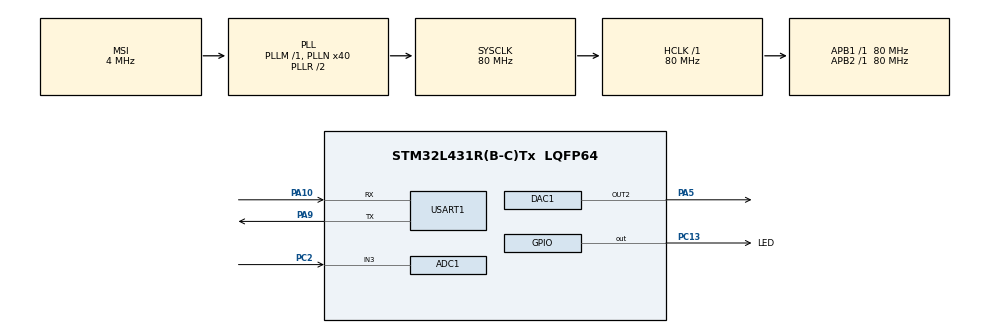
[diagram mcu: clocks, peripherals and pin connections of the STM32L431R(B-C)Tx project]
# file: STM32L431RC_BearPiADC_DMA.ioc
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ADC1.Channel-0\#ChannelRegularConversion=ADC_CHANNEL_3
ADC1.ClockPrescaler=ADC_CLOCK_ASYNC_DIV2
ADC1.ContinuousConvMode=ENABLE
ADC1.DMAContinuousRequests=ENABLE
ADC1.NbrOfConversionFlag=1
ADC1.OffsetNumber-0\#ChannelRegularConversion=ADC_OFFSET_NONE
ADC1.Rank-0\#ChannelRegularConversion=1
ADC1.SamplingTime-0\#ChannelRegularConversion=ADC_SAMPLETIME_640CYCLES_5
ADC1.master=1
DAC1.DAC_Channel-DAC_OUT2=DAC_CHANNEL_2
Dma.ADC1.0.Direction=DMA_PERIPH_TO_MEMORY
Dma.ADC1.0.Instance=DMA1_Channel1
Dma.ADC1.0.MemDataAlignment=DMA_MDATAALIGN_WORD
Dma.ADC1.0.MemInc=DMA_MINC_ENABLE
Dma.ADC1.0.Mode=DMA_CIRCULAR
Dma.ADC1.0.PeriphDataAlignment=DMA_PDATAALIGN_WORD
Dma.ADC1.0.PeriphInc=DMA_PINC_DISABLE
Dma.ADC1.0.Priority=DMA_PRIORITY_HIGH
Dma.Request0=ADC1
Mcu.Family=STM32L4
Mcu.Name=STM32L431R(B-C)Tx
Mcu.Package=LQFP64
NVIC.ADC1_IRQn=true\:0\:0\:false\:false\:true\:true
NVIC.DMA1_Channel1_IRQn=true\:0\:0\:false\:false\:true\:false
NVIC.PriorityGroup=NVIC_PRIORITYGROUP_4
PA10.Mode=Asynchronous
PA10.Signal=USART1_RX
PA5.Signal=COMP_DAC12_group
PA9.Mode=Asynchronous
PA9.Signal=USART1_TX
PC13.GPIO_Label=LED
PC13.Signal=GPIO_Output
PC2.Signal=ADCx_IN3
ProjectManager.HeapSize=0x200
ProjectManager.StackSize=0x400
ProjectManager.TargetToolchain=MDK-ARM V5
RCC.ADCFreq_Value=12000000
RCC.AHBFreq_Value=80000000
RCC.APB1Freq_Value=80000000
RCC.APB1TimFreq_Value=80000000
RCC.APB2Freq_Value=80000000
RCC.APB2TimFreq_Value=80000000
RCC.CortexFreq_Value=80000000
RCC.HCLKFreq_Value=80000000
RCC.HSE_VALUE=8000000
RCC.HSI48_VALUE=48000000
RCC.HSI_VALUE=16000000
RCC.LSE_VALUE=32768
RCC.MSI_VALUE=4000000
RCC.PLLN=40
RCC.PLLSAI1N=18
RCC.PLLSAI1R=RCC_PLLR_DIV6
RCC.SYSCLKFreq_VALUE=80000000
RCC.SYSCLKSource=RCC_SYSCLKSOURCE_PLLCLK
RCC.VCOOutputFreq_Value=160000000
SH.ADCx_IN3.0=ADC1_IN3,IN3-Single-Ended
SH.COMP_DAC12_group.0=DAC1_OUT2,DAC_OUT2
USART1.VirtualMode-Asynchronous=VM_ASYNC
board=custom

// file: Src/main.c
/**
  ******************************************************************************
  * @file           : main.c
  * @brief          : Main program body
  ******************************************************************************
  ** This notice applies to any and all portions of this file
  * that are not between comment pairs USER CODE BEGIN and
  * USER CODE END. Other portions of this file, whether
  * inserted by the user or by software development tools
  * are owned by their respective copyright owners.
  *
  * COPYRIGHT(c) 2019 STMicroelectronics
  *
  * Redistribution and use in source and binary forms, with or without modification,
  * are permitted provided that the following conditions are met:
  *   1. Redistributions of source code must retain the above copyright notice,
  *      this list of conditions and the following disclaimer.
  *   2. Redistributions in binary form must reproduce the above copyright notice,
  *      this list of conditions and the following disclaimer in the documentation
  *      and/or other materials provided with the distribution.
  *   3. Neither the name of STMicroelectronics nor the names of its contributors
  *      may be used to endorse or promote products derived from this software
  *      without specific prior written permission.
  *
  * THIS SOFTWARE IS PROVIDED BY THE COPYRIGHT HOLDERS AND CONTRIBUTORS "AS IS"
  * AND ANY EXPRESS OR IMPLIED WARRANTIES, INCLUDING, BUT NOT LIMITED TO, THE
  * IMPLIED WARRANTIES OF MERCHANTABILITY AND FITNESS FOR A PARTICULAR PURPOSE ARE
  * DISCLAIMED. IN NO EVENT SHALL THE COPYRIGHT HOLDER OR CONTRIBUTORS BE LIABLE
  * FOR ANY DIRECT, INDIRECT, INCIDENTAL, SPECIAL, EXEMPLARY, OR CONSEQUENTIAL
  * DAMAGES (INCLUDING, BUT NOT LIMITED TO, PROCUREMENT OF SUBSTITUTE GOODS OR
  * SERVICES; LOSS OF USE, DATA, OR PROFITS; OR BUSINESS INTERRUPTION) HOWEVER
  * CAUSED AND ON ANY THEORY OF LIABILITY, WHETHER IN CONTRACT, STRICT LIABILITY,
  * OR TORT (INCLUDING NEGLIGENCE OR OTHERWISE) ARISING IN ANY WAY OUT OF THE USE
  * OF THIS SOFTWARE, EVEN IF ADVISED OF THE POSSIBILITY OF SUCH DAMAGE.
  *
  ******************************************************************************
  */
#include "main.h"
#include "stm32l4xx_hal.h"
#include "adc.h"
#include "dac.h"
#include "dma.h"
#include "usart.h"
#include "gpio.h"

/* USER CODE BEGIN Includes */
#include "stdio.h"
/* USER CODE END Includes */

/* USER CODE BEGIN PV */
/* Private variables ---------------------------------------------------------*/

/* USER CODE END PV */

void SystemClock_Config(void);

/* USER CODE BEGIN PFP */
/* Private function prototypes -----------------------------------------------*/

/* USER CODE END PFP */

int main(void)
{
  /* USER CODE BEGIN 1 */
uint16_t ADCvalue=0;
	float Voltage=0;
	int DACvalue=0;
  /* USER CODE END 1 */

  /* MCU Configuration----------------------------------------------------------*/

  /* Reset of all peripherals, Initializes the Flash interface and the Systick. */
  HAL_Init();

  /* Configure the system clock */
  SystemClock_Config();

  /* Initialize all configured peripherals */
  MX_GPIO_Init();
  MX_DMA_Init();
  MX_ADC1_Init();
  MX_USART1_UART_Init();
  MX_DAC1_Init();
  /* USER CODE BEGIN 2 */
  HAL_ADC_Start_DMA(&hadc1,(uint32_t*)&ADCvalue,1);
	HAL_DAC_Start(&hdac1, DAC1_CHANNEL_2);
  /* USER CODE END 2 */

  /* Infinite loop */
  while (1)
  {

  /* USER CODE BEGIN 3 */
	DACvalue+=100;
	if(DACvalue>4096)
	{
	DACvalue=0;
	}
	HAL_DAC_SetValue(&hdac1, DAC1_CHANNEL_2,DAC_ALIGN_12B_R, DACvalue);
  Voltage=ADCvalue*3.41/4096;//2^12=4096
	printf("DACvalue:%d,ADCValue:%d,ADCValue:%f\r\n",DACvalue,ADCvalue,Voltage);//打印转换数据和换算电压
	HAL_Delay(1000);
  }
  /* USER CODE END 3 */

}

void SystemClock_Config(void)
{

  RCC_OscInitTypeDef RCC_OscInitStruct;
  RCC_ClkInitTypeDef RCC_ClkInitStruct;
  RCC_PeriphCLKInitTypeDef PeriphClkInit;

    /**Initializes the CPU, AHB and APB busses clocks
    */
  RCC_OscInitStruct.OscillatorType = RCC_OSCILLATORTYPE_MSI;
  RCC_OscInitStruct.MSIState = RCC_MSI_ON;
  RCC_OscInitStruct.MSICalibrationValue = 0;
  RCC_OscInitStruct.MSIClockRange = RCC_MSIRANGE_6;
  RCC_OscInitStruct.PLL.PLLState = RCC_PLL_ON;
  RCC_OscInitStruct.PLL.PLLSource = RCC_PLLSOURCE_MSI;
  RCC_OscInitStruct.PLL.PLLM = 1;
  RCC_OscInitStruct.PLL.PLLN = 40;
  RCC_OscInitStruct.PLL.PLLP = RCC_PLLP_DIV7;
  RCC_OscInitStruct.PLL.PLLQ = RCC_PLLQ_DIV2;
  RCC_OscInitStruct.PLL.PLLR = RCC_PLLR_DIV2;
  if (HAL_RCC_OscConfig(&RCC_OscInitStruct) != HAL_OK)
  {
    _Error_Handler(__FILE__, __LINE__);
  }

    /**Initializes the CPU, AHB and APB busses clocks
    */
  RCC_ClkInitStruct.ClockType = RCC_CLOCKTYPE_HCLK|RCC_CLOCKTYPE_SYSCLK
                              |RCC_CLOCKTYPE_PCLK1|RCC_CLOCKTYPE_PCLK2;
  RCC_ClkInitStruct.SYSCLKSource = RCC_SYSCLKSOURCE_PLLCLK;
  RCC_ClkInitStruct.AHBCLKDivider = RCC_SYSCLK_DIV1;
  RCC_ClkInitStruct.APB1CLKDivider = RCC_HCLK_DIV1;
  RCC_ClkInitStruct.APB2CLKDivider = RCC_HCLK_DIV1;

  if (HAL_RCC_ClockConfig(&RCC_ClkInitStruct, FLASH_LATENCY_4) != HAL_OK)
  {
    _Error_Handler(__FILE__, __LINE__);
  }

  PeriphClkInit.PeriphClockSelection = RCC_PERIPHCLK_USART1|RCC_PERIPHCLK_ADC;
  PeriphClkInit.Usart1ClockSelection = RCC_USART1CLKSOURCE_PCLK2;
  PeriphClkInit.AdcClockSelection = RCC_ADCCLKSOURCE_PLLSAI1;
  PeriphClkInit.PLLSAI1.PLLSAI1Source = RCC_PLLSOURCE_MSI;
  PeriphClkInit.PLLSAI1.PLLSAI1M = 1;
  PeriphClkInit.PLLSAI1.PLLSAI1N = 18;
  PeriphClkInit.PLLSAI1.PLLSAI1P = RCC_PLLP_DIV7;
  PeriphClkInit.PLLSAI1.PLLSAI1Q = RCC_PLLQ_DIV2;
  PeriphClkInit.PLLSAI1.PLLSAI1R = RCC_PLLR_DIV6;
  PeriphClkInit.PLLSAI1.PLLSAI1ClockOut = RCC_PLLSAI1_ADC1CLK;
  if (HAL_RCCEx_PeriphCLKConfig(&PeriphClkInit) != HAL_OK)
  {
    _Error_Handler(__FILE__, __LINE__);
  }

    /**Configure the main internal regulator output voltage
    */
  if (HAL_PWREx_ControlVoltageScaling(PWR_REGULATOR_VOLTAGE_SCALE1) != HAL_OK)
  {
    _Error_Handler(__FILE__, __LINE__);
  }

    /**Configure the Systick interrupt time
    */
  HAL_SYSTICK_Config(HAL_RCC_GetHCLKFreq()/1000);

    /**Configure the Systick
    */
  HAL_SYSTICK_CLKSourceConfig(SYSTICK_CLKSOURCE_HCLK);

  /* SysTick_IRQn interrupt configuration */
  HAL_NVIC_SetPriority(SysTick_IRQn, 0, 0);
}

/* USER CODE BEGIN 4 */
void  HAL_ADC_ConvCpltCallback(ADC_HandleTypeDef* hadc)
{
  if(hadc->Instance==ADC1)
  {
    HAL_GPIO_TogglePin(LED_GPIO_Port,LED_Pin);
  }
}

/* USER CODE END 4 */

void _Error_Handler(char *file, int line)
{
  while(1)
  {
  }
}

/************************ (C) COPYRIGHT STMicroelectronics *****END OF FILE****/
